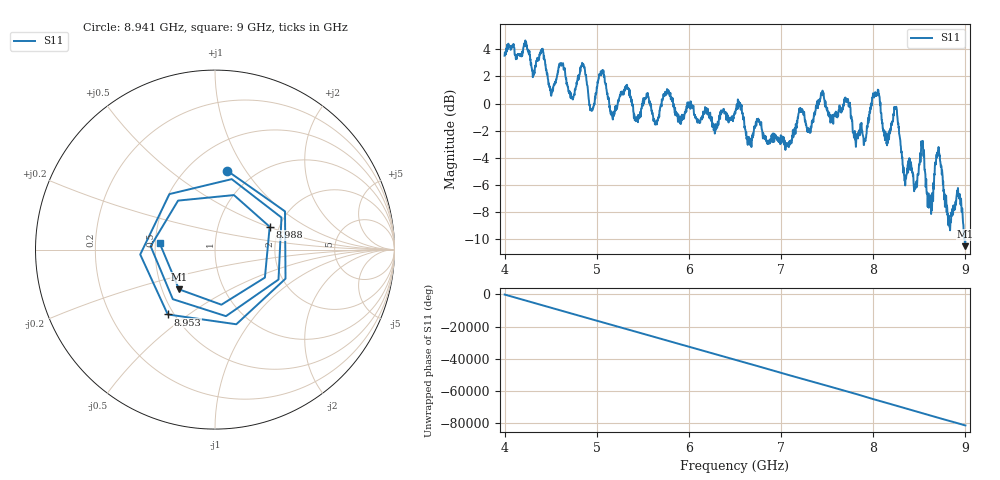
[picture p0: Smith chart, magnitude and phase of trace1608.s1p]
! Created with skrf 1.8.0 (http://scikit-rf.org).
# Hz S RI R 50.0
!freq ReS11 ImS11
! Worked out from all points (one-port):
!   1601 points, 4 GHz to 9 GHz, reference 50 ohm
!   lowest |S11| = -10.5 dB at 8.997 GHz (marker M1), VSWR 1.85, Z = 30.6 - j14.8 ohm
!   |S11| at or under -10 dB: 8.991769 GHz to end of sweep
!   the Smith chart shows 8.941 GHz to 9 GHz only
!   S11 on the Smith chart (normalised r, x): 8.941 GHz: 0.76, +0.83; 8.953 GHz: 0.46, -0.42; 8.988 GHz: 1.78, +0.51; 9 GHz: 0.53, +0.04
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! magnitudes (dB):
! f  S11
! 4 GHz  3.5
! 4.509 GHz  0.7
! 4.625 GHz  2.9
! 4.734 GHz  0.4
! 4.85 GHz  2.8
! 4.944 GHz  -0.4
! 5.05 GHz  2.3
! 5.162 GHz  -0.8
! 5.25 GHz  0.5
! 5.875 GHz  -0.9
! 6.5 GHz  -0.6
! 7.125 GHz  -2.5
! 7.441 GHz  0.6
! 7.75 GHz  -0.3
! 7.903 GHz  -2.6
! 8.044 GHz  0.6
! 8.147 GHz  -2.9
! 8.241 GHz  -0.4
! 8.375 GHz  -4.5
! 8.531 GHz  -3.0
! 8.625 GHz  -6.8
! 8.706 GHz  -3.7
! 8.819 GHz  -8.2
! 8.941 GHz  -7.0
! 8.953 GHz  -7.0
! 8.988 GHz  -9.6
! 8.997 GHz  -10.5
! 9 GHz  -10.2
